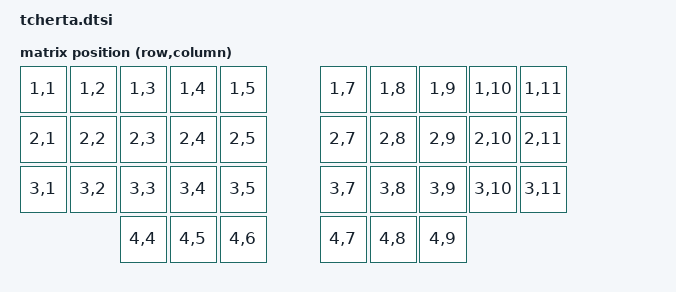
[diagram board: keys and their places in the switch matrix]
/* tcherta.dtsi */
#include <dt-bindings/zmk/matrix_transform.h>

/ {
    chosen {
        zmk,kscan = &kscan0;
        zmk,matrix-transform = &default_transform;
    };

    default_transform: matrix_transform {
        compatible = "zmk,matrix-transform";
        columns = <13>;
        rows = <5>;
        map = <
            /* 0-4, 10-14, 20-24, 30-32                     5-9, 15-19, 25-29. 33-35 */
            RC(1,1) RC(1,2) RC(1,3) RC(1,4) RC(1,5)         RC(1,7) RC(1,8) RC(1,9) RC(1,10) RC(1,11)
            RC(2,1) RC(2,2) RC(2,3) RC(2,4) RC(2,5)         RC(2,7) RC(2,8) RC(2,9) RC(2,10) RC(2,11)
            RC(3,1) RC(3,2) RC(3,3) RC(3,4) RC(3,5)         RC(3,7) RC(3,8) RC(3,9) RC(3,10) RC(3,11)
                            RC(4,4) RC(4,5) RC(4,6)         RC(4, 7) RC(4, 8) RC(4, 9)
        >;
    };

    kscan0: kscan {
        compatible = "zmk,kscan-gpio-matrix";
        diode-direction = "col2row";
    };
};
